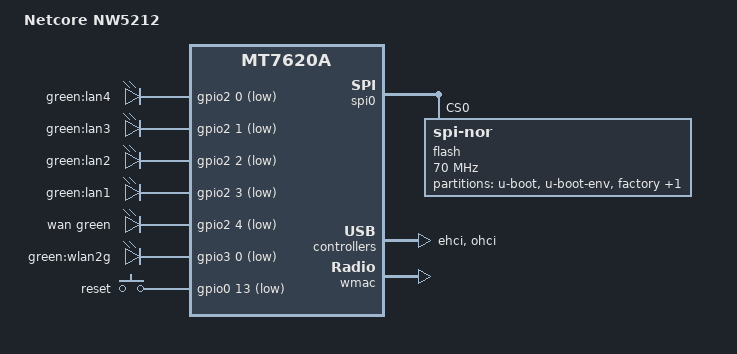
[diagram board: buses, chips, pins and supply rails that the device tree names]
// SPDX-License-Identifier: GPL-2.0-or-later OR MIT

#include "mt7620a.dtsi"

#include <dt-bindings/gpio/gpio.h>
#include <dt-bindings/input/input.h>
#include <dt-bindings/leds/common.h>

/ {
	compatible = "netcore,nw5212", "ralink,mt7620a-soc";
	model = "Netcore NW5212";

	aliases {
		label-mac-device = &ethernet;
	};

	leds {
		compatible = "gpio-leds";

		lan4 {
			label = "green:lan4";
			gpios = <&gpio2 0 GPIO_ACTIVE_LOW>;
		};

		lan3 {
			label = "green:lan3";
			gpios = <&gpio2 1 GPIO_ACTIVE_LOW>;
		};

		lan2 {
			label = "green:lan2";
			gpios = <&gpio2 2 GPIO_ACTIVE_LOW>;
		};

		lan1 {
			label = "green:lan1";
			gpios = <&gpio2 3 GPIO_ACTIVE_LOW>;
		};

		wan {
			function = LED_FUNCTION_WAN;
			color = <LED_COLOR_ID_GREEN>;
			gpios = <&gpio2 4 GPIO_ACTIVE_LOW>;
		};

		wlan2g {
			label = "green:wlan2g";
			gpios = <&gpio3 0 GPIO_ACTIVE_LOW>;
			linux,default-trigger = "phy0tpt";
		};
	};

	keys {
		compatible = "gpio-keys";

		reset {
			label = "reset";
			gpios = <&gpio0 13 GPIO_ACTIVE_LOW>;
			linux,code = <KEY_RESTART>;
		};
	};
};

&gpio2 {
	status = "okay";
};

&gpio3 {
	status = "okay";
};

&spi0 {
	status = "okay";

	flash@0 {
		compatible = "jedec,spi-nor";
		reg = <0>;
		spi-max-frequency = <70000000>;
		m25p,fast-read;

		partitions {
			compatible = "fixed-partitions";
			#address-cells = <1>;
			#size-cells = <1>;

			partition@0 {
				label = "u-boot";
				reg = <0x0 0x30000>;
				read-only;
			};

			partition@30000 {
				label = "u-boot-env";
				reg = <0x30000 0x10000>;
			};

			partition@40000 {
				label = "factory";
				reg = <0x40000 0x10000>;
				read-only;

				nvmem-layout {
					compatible = "fixed-layout";
					#address-cells = <1>;
					#size-cells = <1>;

					eeprom_factory_0: eeprom@0 {
						reg = <0x0 0x200>;
					};

					macaddr_factory_28: macaddr@28 {
						reg = <0x28 0x6>;
					};
				};
			};

			partition@50000 {
				compatible = "denx,uimage";
				label = "firmware";
				reg = <0x50000 0xfb0000>;
			};
		};
	};
};

&state_default {
	gpio {
		groups = "uartf", "wled", "ephy";
		function = "gpio";
	};
};

&ethernet {
	mediatek,portmap = "llllw";
	nvmem-cells = <&macaddr_factory_28>;
	nvmem-cell-names = "mac-address";
};

&ehci {
	status = "okay";
};

&ohci {
	status = "okay";
};

&wmac {
	nvmem-cells = <&eeprom_factory_0>;
	nvmem-cell-names = "eeprom";
};
